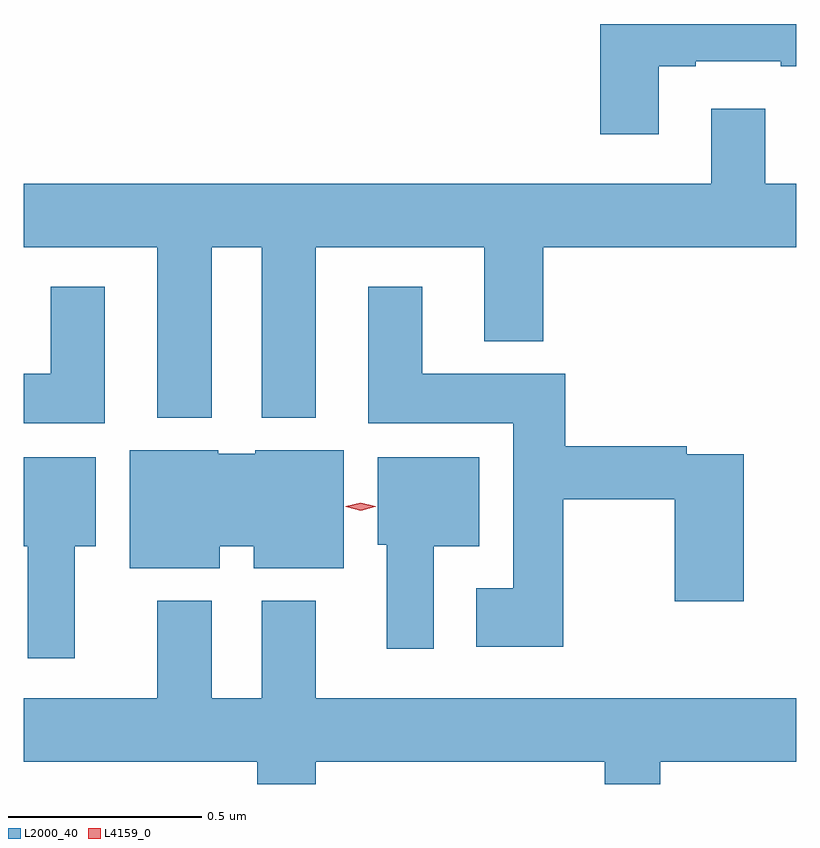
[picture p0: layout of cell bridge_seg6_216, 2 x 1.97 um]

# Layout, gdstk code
import gdstk
lib = gdstk.Library(unit=1e-6, precision=1e-09)
def P(c, l, *ps):  # polygons
    for p in ps: c.add(gdstk.Polygon(p, *l))
L2000_40 = (2000, 40)
L4159_0 = (4159, 0)

bridge_seg6_216 = lib.new_cell('bridge_seg6_216')
P(bridge_seg6_216, L2000_40, [(136.879,973.113),(136.975,973.113),(136.975,973.125),(137.195,973.125),(137.195,973.113),(137.235,973.113),(137.235,973.222),(136.727,973.222),(136.727,972.936),(136.879,972.936)],
  [(135.721,972.644),(135.851,972.644),(135.851,972.203),(135.991,972.203),(135.991,972.644),(136.427,972.644),(136.427,972.401),(136.58,972.401),(136.58,972.644),(137.235,972.644),(137.235,972.808),(137.155,972.808),(137.155,973.003),(137.015,973.003),(137.015,972.808),(135.235,972.808),(135.235,972.644),(135.581,972.644),(135.581,972.203),(135.721,972.203)],
  [(135.445,972.541),(135.305,972.541),(135.305,972.316),(135.235,972.316),(135.235,972.188),(135.445,972.188)],
  [(136.632,971.992),(136.921,971.992),(136.921,971.727),(137.099,971.727),(137.099,972.108),(136.952,972.108),(136.952,972.128),(136.637,972.128),(136.637,972.316),(136.267,972.316),(136.267,972.541),(136.127,972.541),(136.127,972.188),(136.502,972.188),(136.502,971.761),(136.407,971.761),(136.407,971.609),(136.632,971.609)],
  [(135.742,971.87),(135.83,971.87),(135.83,971.813),(136.063,971.813),(136.063,972.118),(135.834,972.118),(135.834,972.109),(135.738,972.109),(135.738,972.118),(135.509,972.118),(135.509,971.813),(135.742,971.813)],
  [(135.367,971.87),(135.421,971.87),(135.421,972.1),(135.235,972.1),(135.235,971.87),(135.245,971.87),(135.245,971.58),(135.367,971.58)],
  [(136.297,971.87),(136.414,971.87),(136.414,972.1),(136.151,972.1),(136.151,971.874),(136.175,971.874),(136.175,971.604),(136.297,971.604)],
  [(135.991,971.312),(136.739,971.312),(136.739,971.254),(136.883,971.254),(136.883,971.312),(137.235,971.312),(137.235,971.476),(135.991,971.476),(135.991,971.728),(135.851,971.728),(135.851,971.476),(135.721,971.476),(135.721,971.728),(135.581,971.728),(135.581,971.476),(135.235,971.476),(135.235,971.312),(135.839,971.312),(135.839,971.254),(135.991,971.254)])
P(bridge_seg6_216, L4159_0, [(136.107,971.962),(136.069,971.972),(136.069,971.972),(136.069,971.973),(136.107,971.982),(136.145,971.973),(136.146,971.972),(136.145,971.972)])

lib.write_gds('bridge_seg6_216.gds')
